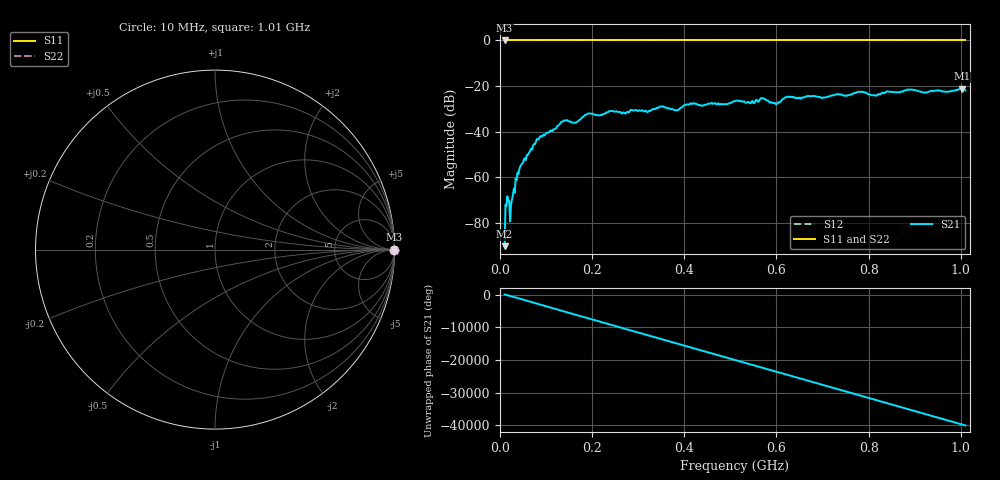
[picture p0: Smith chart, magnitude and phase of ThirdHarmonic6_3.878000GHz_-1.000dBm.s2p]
! 8/17/2025 1:35:33 PM
! C:\ANRITSUVNA\TEMP\TEMP.S2P
! CHANNEL.1
! TR.MEASUREMENT
! RAW.DATA
! RF.CORRECTION.OFF
! AVERAGING.OFF
! IF.BANDWIDTH: 5KHZ
! SWEEPTYPE:  FREQ.SWEEP(Linear)
! Reference Plane Port Info
! PORT:  PORT1  PORT2
! DISTANCE:  0  m  0  m
! TIME:  0  s  0  s
! PHASE.OFFSET:  0  deg.  0  deg.
! LOSS:  0  dB  0  dB
! REF.LOSS:  0  dB  0  dB
! REF.FREQ:  0  Hz  0  Hz
! Power Info
! POWER:  -20  dBm  -20  dBm
! EFF.POWER:  -20  dBm  -20  dBm
! SOURCE.ATTEN:  0  dB  0  dB
! TEST.ATTEN:  0  dB  0  dB
# GHZ S RI R 50.0
! FREQ.GHZ  S11RE  S11IM  S21RE  S21IM  S12RE  S12IM  S22RE  S22IM
!; PortSelection: Port_12
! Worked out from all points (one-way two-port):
!   501 points, 10 MHz to 1.01 GHz, reference 50 ohm
!   highest |S21| = -21.16 dB at 1.002 GHz (marker M1); lowest = -90.3 dB at 10 MHz (marker M2)
!   lowest |S11| = 0.0 dB at 10 MHz (marker M3)
!   |S11| at or under -10 dB: nowhere
!   |S22| runs from 0.0 to 0.0 dB; largest |S21 - S12| = 1.1
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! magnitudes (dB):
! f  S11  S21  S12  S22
! 10 MHz  0.0  -90.3  0.0  0.0
! 16 MHz  0.0  -68.4  0.0  0.0
! 22 MHz  0.0  -79.4  0.0  0.0
! 26 MHz  0.0  -69.8  0.0  0.0
! 34 MHz  0.0  -60.5  0.0  0.0
! 42 MHz  0.0  -56.5  0.0  0.0
! 78 MHz  0.0  -44.4  0.0  0.0
! 136 MHz  0.0  -35.6  0.0  0.0
! 162 MHz  0.0  -36.1  0.0  0.0
! 178 MHz  0.0  -33.8  0.0  0.0
! 194 MHz  0.0  -32.1  0.0  0.0
! 344 MHz  0.0  -29.6  0.0  0.0
! 384 MHz  0.0  -30.6  0.0  0.0
! 416 MHz  0.0  -27.9  0.0  0.0
! 510 MHz  0.0  -26.6  0.0  0.0
! 570 MHz  0.0  -25.3  0.0  0.0
! 598 MHz  0.0  -27.9  0.0  0.0
! 622 MHz  0.0  -24.9  0.0  0.0
! 678 MHz  0.0  -24.4  0.0  0.0
! 844 MHz  0.0  -22.5  0.0  0.0
! 1.002 GHz  0.0  -21.2  0.0  0.0
! 1.01 GHz  0.0  -21.9  0.0  0.0
